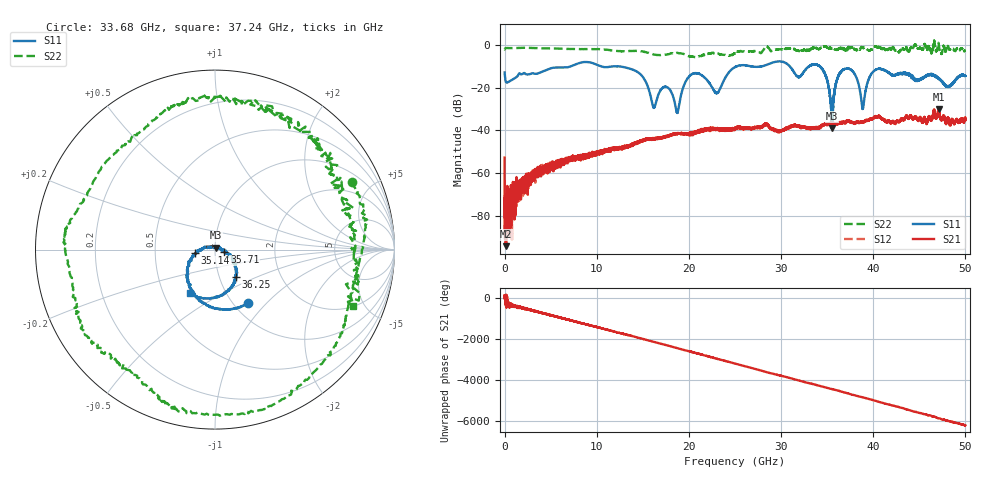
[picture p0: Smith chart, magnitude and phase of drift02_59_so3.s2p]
!Created with skrf (http://scikit-rf.org).
# Hz S RI R 50.0
!freq ReS11 ImS11 ReS21 ImS21 ReS12 ImS12 ReS22 ImS22
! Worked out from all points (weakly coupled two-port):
!   10001 points, 300 kHz to 50 GHz, reference 50 ohm
!   highest |S21| = -29.99 dB at 47.09 GHz (marker M1); lowest = -94.1 dB at 165.3 MHz (marker M2)
!   lowest |S11| = -39.0 dB at 35.52 GHz (marker M3), VSWR 1.02, Z = 50.4 + j1.04 ohm
!   |S11| at or under -10 dB: start of sweep to 7.177 GHz; 12.36 GHz to 25.16 GHz (12.8 GHz wide, 68.2 % of centre); 34.2 GHz to end of sweep (the widest 3 of 17)
!   |S22| runs from -5.7 to 2.1 dB; largest |S21 - S12| = 0.0034
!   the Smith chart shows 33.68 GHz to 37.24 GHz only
!   S11 on the Smith chart (normalised r, x): 33.68 GHz: 1.15, -0.79; 35.14 GHz: 0.80, -0.03; 35.71 GHz: 1.11, -0.03; 36.25 GHz: 1.20, -0.38; 37.24 GHz: 0.68, -0.36
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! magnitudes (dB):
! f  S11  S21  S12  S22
! 300 kHz  -12.9  -52.7  -69.9  -2.1
! 165.3 MHz  -17.5  -94.1  -79.7  -1.4
! 8.335 GHz  -8.2  -51.7  -52.1  -1.9
! 14.03 GHz  -11.8  -46.5  -46.4  -2.8
! 16.15 GHz  -29.2  -43.9  -43.8  -4.4
! 16.67 GHz  -23.4  -43.8  -43.6  -4.7
! 18.74 GHz  -31.8  -41.4  -41.6  -3.7
! 20.25 GHz  -13.9  -41.1  -41.8  -5.5
! 23.04 GHz  -22.5  -39.1  -39.6  -4.1
! 25 GHz  -10.3  -39.0  -39.2  -3.9
! 33.34 GHz  -9.3  -38.8  -38.8  -1.6
! 33.68 GHz  -9.1  -38.7  -38.6  -1.4
! 35.14 GHz  -19.0  -37.0  -37.4  -1.6
! 35.52 GHz  -39.0  -36.8  -36.7  -1.7
! 35.71 GHz  -25.3  -36.8  -36.9  -1.6
! 36.25 GHz  -14.3  -36.5  -36.4  -1.7
! 37.24 GHz  -11.1  -35.5  -35.3  -1.6
! 38.86 GHz  -29.9  -35.8  -35.9  -1.3
! 39.96 GHz  -12.6  -34.3  -34.4  -1.8
! 41.67 GHz  -12.9  -35.5  -35.7  -1.9
! 47.09 GHz  -15.5  -30.0  -30.3  0.9
! 50 GHz  -14.4  -35.0  -34.1  -2.7
